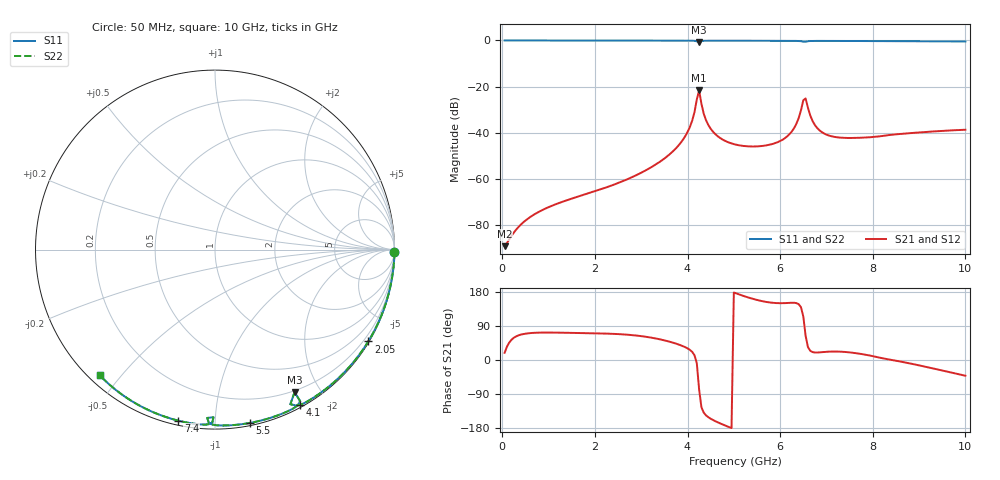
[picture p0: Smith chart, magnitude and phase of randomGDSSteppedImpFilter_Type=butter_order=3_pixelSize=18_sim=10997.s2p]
! freq	dB(S11)	phase(S11)	dB(S12)	phase(S12)
!  dB(S21)	phase(S21)	dB(S22)	phase(S22)
!S-par simulation data
#  GHz  S  DB  R 50
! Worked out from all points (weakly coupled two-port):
!   200 points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, 50 MHz to 10 GHz, reference 50 ohm
!   highest |S21| = -21.70 dB at 4.25 GHz (marker M1); lowest = -89.2 dB at 50 MHz (marker M2)
!   lowest |S11| = -0.8 dB at 4.25 GHz (marker M3), VSWR 21.11, Z = 9.18 - j84.4 ohm
!   |S11| at or under -10 dB: nowhere
!   |S22| runs from -0.8 to 0.0 dB; largest |S21 - S12| = 0
!   S11 on the Smith chart (normalised r, x): 50 MHz: open; 2.05 GHz: 0.03, -3.62; 4.1 GHz: 0.03, -1.69; 5.5 GHz: 0.02, -1.22; 7.4 GHz: 0.02, -0.81; 10 GHz: 0.03, -0.44
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0.05  -0.00 -0.8  -89.25 19.0  -89.25 19.0  -0.00 -0.8
0.4  -0.00 -6.1  -79.90 67.0  -79.90 67.0  -0.00 -6.1
0.9  -0.02 -13.7  -73.22 72.4  -73.22 72.4  -0.02 -13.7
1.75  -0.03 -26.5  -67.01 71.0  -67.01 71.0  -0.03 -26.5
2.05  -0.04 -30.9  -65.08 70.3  -65.08 70.3  -0.04 -30.9
3.4  -0.07 -50.5  -52.67 54.6  -52.67 54.6  -0.07 -50.5
3.85  -0.08 -57.0  -44.45 39.0  -44.45 39.0  -0.08 -57.0
4.1  -0.12 -61.2  -34.84 21.5  -34.84 21.5  -0.12 -61.2
4.25  -0.82 -60.8  -21.70 -77.5  -21.70 -77.5  -0.82 -60.8
4.35  -0.16 -62.1  -31.78 -139.0  -31.78 -139.0  -0.16 -62.1
4.5  -0.11 -64.9  -38.32 -155.0  -38.32 -155.0  -0.11 -64.9
5.05  -0.11 -72.7  -45.22 175.8  -45.22 175.8  -0.11 -72.7
5.5  -0.13 -78.7  -45.96 158.5  -45.96 158.5  -0.13 -78.7
6.2  -0.17 -87.9  -40.69 150.8  -40.69 150.8  -0.17 -87.9
6.35  -0.20 -90.2  -36.18 150.2  -36.18 150.2  -0.20 -90.2
6.5  -0.55 -92.6  -25.93 114.8  -25.93 114.8  -0.55 -92.6
6.55  -0.59 -90.5  -25.17 63.6  -25.17 63.6  -0.59 -90.5
6.7  -0.21 -92.8  -34.94 20.9  -34.94 20.9  -0.21 -92.8
6.95  -0.20 -96.4  -40.37 21.2  -40.37 21.2  -0.20 -96.4
7.4  -0.22 -102.1  -42.29 21.3  -42.29 21.3  -0.22 -102.1
8.35  -0.29 -113.4  -41.05 1.3  -41.05 1.3  -0.29 -113.4
10  -0.45 -132.5  -38.73 -41.5  -38.73 -41.5  -0.45 -132.5
